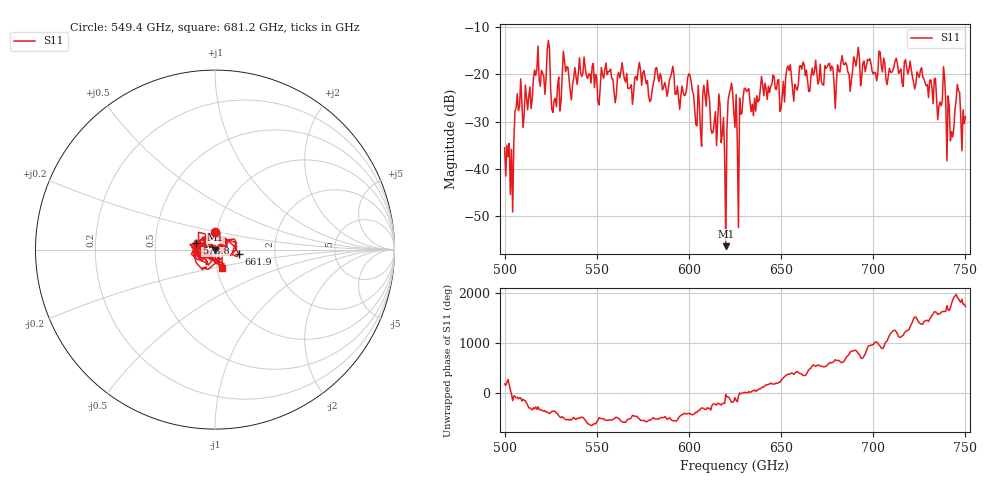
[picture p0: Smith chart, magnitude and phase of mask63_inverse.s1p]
!Created with skrf (http://scikit-rf.org).
# GHz S MA R 50.0
!freq magS11 angS11
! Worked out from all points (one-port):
!   401 points, 500 GHz to 750 GHz, reference 50 ohm
!   lowest |S11| = -56.4 dB at 620 GHz (marker M1), VSWR 1.00, Z = 50.1 - j0.0961 ohm
!   |S11| at or under -10 dB: start of sweep to end of sweep
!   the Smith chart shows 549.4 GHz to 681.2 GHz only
!   S11 on the Smith chart (normalised r, x): 549.4 GHz: 0.98, +0.20; 573.8 GHz: 0.81, +0.06; 661.9 GHz: 1.30, -0.07; 681.2 GHz: 1.05, -0.22
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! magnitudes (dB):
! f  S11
! 500 GHz  -35.5
! 503.8 GHz  -35.8
! 507.5 GHz  -27.7
! 516.9 GHz  -20.2
! 523.8 GHz  -12.8
! 526.9 GHz  -25.4
! 531.2 GHz  -20.6
! 549.4 GHz  -20.0
! 562.5 GHz  -20.7
! 573.8 GHz  -19.2
! 593.8 GHz  -22.5
! 600.6 GHz  -20.2
! 605.6 GHz  -26.1
! 609.4 GHz  -26.7
! 620 GHz  -56.4
! 622.5 GHz  -23.3
! 625 GHz  -31.2
! 625.6 GHz  -24.3
! 631.2 GHz  -23.6
! 656.2 GHz  -23.0
! 661.9 GHz  -17.4
! 681.2 GHz  -19.2
! 687.5 GHz  -23.6
! 718.8 GHz  -19.9
! 738.1 GHz  -18.4
! 741.2 GHz  -26.9
! 745.6 GHz  -22.1
! 750 GHz  -29.0
